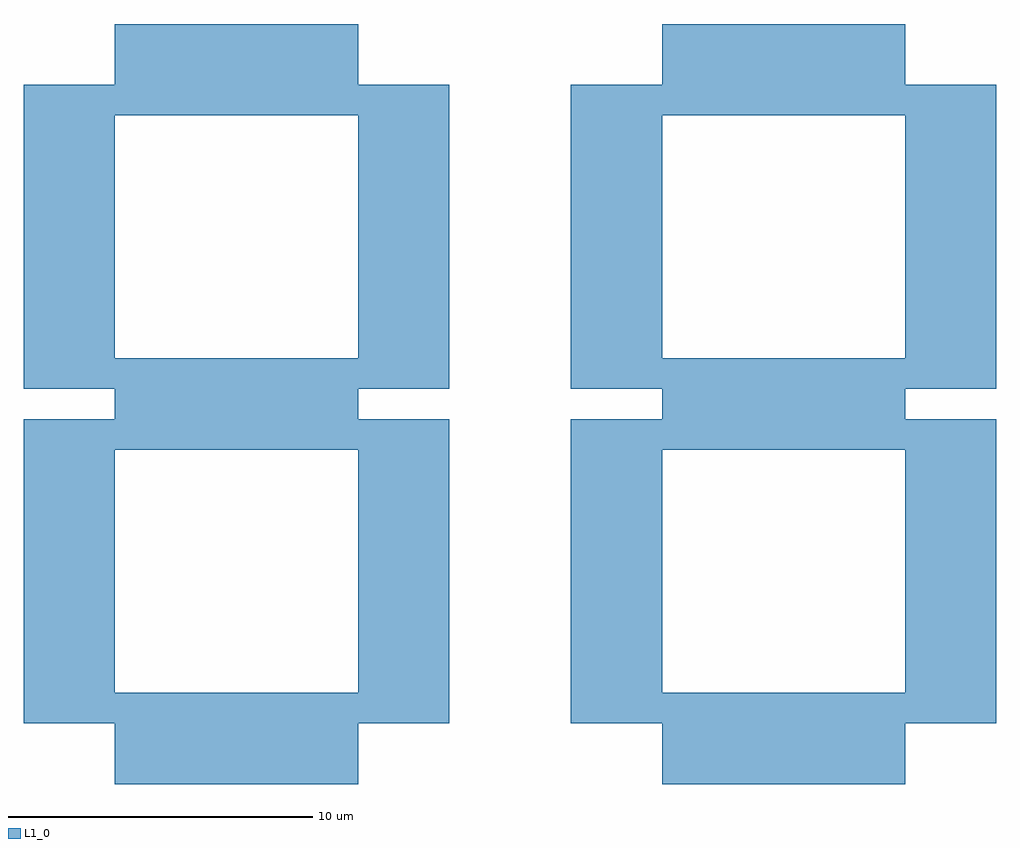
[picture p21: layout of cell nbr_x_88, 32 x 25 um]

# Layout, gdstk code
import gdstk
lib = gdstk.Library(unit=1e-6, precision=1e-09)
def R(c, l, rs):  # rectangles x0, y0, x1, y1
    for r in rs: c.add(gdstk.rectangle(r[:2], r[2:], *l))
def A(c, l, x, y, w, h, nx, ny, dx, dy):  # array of equal rectangles
    R(c, l, [(x+i*dx, y+j*dy, x+i*dx+w, y+j*dy+h) for i in range(nx) for j in range(ny)])
L1_0 = (1, 0)

nbr_x_88 = lib.new_cell('nbr_x_88')
A(nbr_x_88, L1_0, 13, 265, 8, 3, 1, 3, 0, 11)
A(nbr_x_88, L1_0, 31, 265, 8, 3, 1, 3, 0, 11)
R(nbr_x_88, L1_0, [(10,267,13,277), (21,267,24,277), (28,267,31,277), (39,267,42,277), (10,278,13,288), (21,278,24,288), (28,278,31,288), (39,278,42,288)])

lib.write_gds('nbr_x_88.gds')
